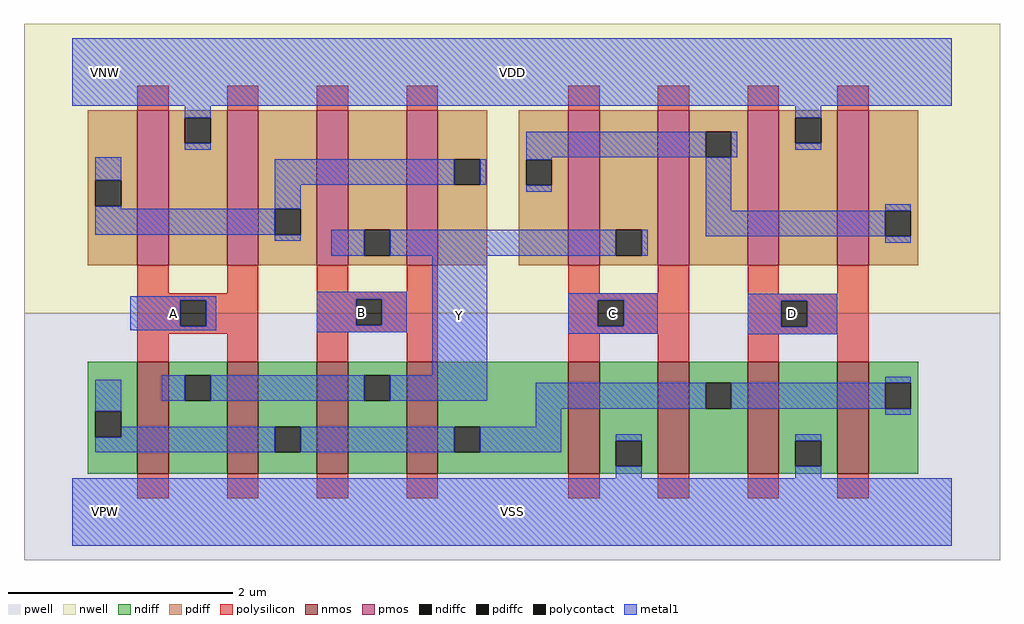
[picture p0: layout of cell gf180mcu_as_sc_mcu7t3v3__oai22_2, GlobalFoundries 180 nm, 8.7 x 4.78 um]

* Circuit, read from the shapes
.subckt gf180mcu_as_sc_mcu7t3v3__oai22_2 VDD VNW VPW VSS A B C D Y
XM1 Y A n1 VPW nfet_03v3 w=1u l=0.28u m=2
XM2 Y B n1 VPW nfet_03v3 w=1u l=0.28u m=2
XM3 VSS C n1 VPW nfet_03v3 w=1u l=0.28u m=2
XM4 VSS D n1 VPW nfet_03v3 w=1u l=0.28u m=2
XM5 VDD A n2 VNW pfet_03v3 w=1.38u l=0.28u m=2
XM6 Y B n2 VNW pfet_03v3 w=1.38u l=0.28u m=2
XM7 Y C n3 VNW pfet_03v3 w=1.38u l=0.28u m=2
XM8 VDD D n3 VNW pfet_03v3 w=1.38u l=0.28u m=2
.ends

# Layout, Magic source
magic
tech gf180mcuD
magscale 1 10
<< nwell >>
rect -86 354 1654 870
<< pwell >>
rect -86 -86 1654 354
<< nmos >>
rect 116 68 172 268
rect 276 68 332 268
rect 436 68 492 268
rect 596 68 652 268
rect 884 68 940 268
rect 1044 68 1100 268
rect 1204 68 1260 268
rect 1364 68 1420 268
<< pmos >>
rect 116 440 172 716
rect 276 440 332 716
rect 436 440 492 716
rect 596 440 652 716
rect 884 440 940 716
rect 1044 440 1100 716
rect 1204 440 1260 716
rect 1364 440 1420 716
<< ndiff >>
rect 28 179 116 268
rect 28 133 41 179
rect 87 133 116 179
rect 28 68 116 133
rect 172 244 276 268
rect 172 198 201 244
rect 247 198 276 244
rect 172 68 276 198
rect 332 152 436 268
rect 332 106 361 152
rect 407 106 436 152
rect 332 68 436 106
rect 492 244 596 268
rect 492 198 521 244
rect 567 198 596 244
rect 492 68 596 198
rect 652 152 884 268
rect 652 106 681 152
rect 727 106 884 152
rect 652 68 884 106
rect 940 127 1044 268
rect 940 81 969 127
rect 1015 81 1044 127
rect 940 68 1044 81
rect 1100 230 1204 268
rect 1100 184 1129 230
rect 1175 184 1204 230
rect 1100 68 1204 184
rect 1260 127 1364 268
rect 1260 81 1289 127
rect 1335 81 1364 127
rect 1260 68 1364 81
rect 1420 230 1508 268
rect 1420 184 1449 230
rect 1495 184 1508 230
rect 1420 68 1508 184
<< pdiff >>
rect 28 591 116 716
rect 28 545 41 591
rect 87 545 116 591
rect 28 440 116 545
rect 172 703 276 716
rect 172 657 201 703
rect 247 657 276 703
rect 172 440 276 657
rect 332 540 436 716
rect 332 494 361 540
rect 407 494 436 540
rect 332 440 436 494
rect 492 503 596 716
rect 492 457 521 503
rect 567 457 596 503
rect 492 440 596 457
rect 652 629 740 716
rect 652 583 681 629
rect 727 583 740 629
rect 652 440 740 583
rect 796 628 884 716
rect 796 582 809 628
rect 855 582 884 628
rect 796 440 884 582
rect 940 503 1044 716
rect 940 457 969 503
rect 1015 457 1044 503
rect 940 440 1044 457
rect 1100 678 1204 716
rect 1100 632 1129 678
rect 1175 632 1204 678
rect 1100 440 1204 632
rect 1260 703 1364 716
rect 1260 657 1289 703
rect 1335 657 1364 703
rect 1260 440 1364 657
rect 1420 537 1508 716
rect 1420 491 1449 537
rect 1495 491 1508 537
rect 1420 440 1508 491
<< ndiffc >>
rect 41 133 87 179
rect 201 198 247 244
rect 361 106 407 152
rect 521 198 567 244
rect 681 106 727 152
rect 969 81 1015 127
rect 1129 184 1175 230
rect 1289 81 1335 127
rect 1449 184 1495 230
<< pdiffc >>
rect 41 545 87 591
rect 201 657 247 703
rect 361 494 407 540
rect 521 457 567 503
rect 681 583 727 629
rect 809 582 855 628
rect 969 457 1015 503
rect 1129 632 1175 678
rect 1289 657 1335 703
rect 1449 491 1495 537
<< polysilicon >>
rect 116 716 172 760
rect 276 716 332 760
rect 436 716 492 760
rect 596 716 652 760
rect 884 716 940 760
rect 1044 716 1100 760
rect 1204 716 1260 760
rect 1364 716 1420 760
rect 116 390 172 440
rect 276 390 332 440
rect 116 377 332 390
rect 116 331 193 377
rect 239 331 332 377
rect 116 318 332 331
rect 116 268 172 318
rect 276 268 332 318
rect 436 392 492 440
rect 596 392 652 440
rect 436 379 652 392
rect 436 333 506 379
rect 552 333 652 379
rect 436 320 652 333
rect 436 268 492 320
rect 596 268 652 320
rect 884 390 940 440
rect 1044 390 1100 440
rect 884 377 1100 390
rect 884 331 937 377
rect 983 331 1100 377
rect 884 318 1100 331
rect 884 268 940 318
rect 1044 268 1100 318
rect 1204 389 1260 440
rect 1364 389 1420 440
rect 1204 376 1420 389
rect 1204 330 1264 376
rect 1310 330 1420 376
rect 1204 317 1420 330
rect 1204 268 1260 317
rect 1364 268 1420 317
rect 116 24 172 68
rect 276 24 332 68
rect 436 24 492 68
rect 596 24 652 68
rect 884 24 940 68
rect 1044 24 1100 68
rect 1204 24 1260 68
rect 1364 24 1420 68
<< polycontact >>
rect 193 331 239 377
rect 506 333 552 379
rect 937 331 983 377
rect 1264 330 1310 376
<< metal1 >>
rect 0 724 1568 844
rect 201 703 247 724
rect 1289 703 1335 724
rect 201 646 247 657
rect 809 632 1129 678
rect 1175 632 1186 678
rect 1289 646 1335 657
rect 41 591 87 632
rect 41 540 87 545
rect 361 583 681 629
rect 727 583 738 629
rect 809 628 855 632
rect 361 540 407 583
rect 809 571 855 582
rect 41 494 361 540
rect 1129 537 1175 632
rect 1449 537 1495 548
rect 361 483 407 494
rect 462 457 521 503
rect 567 457 969 503
rect 1015 457 1026 503
rect 1129 491 1449 537
rect 1449 480 1495 491
rect 103 377 257 384
rect 103 331 193 377
rect 239 331 257 377
rect 103 324 257 331
rect 436 379 596 392
rect 436 333 506 379
rect 552 333 596 379
rect 436 320 596 333
rect 642 244 740 457
rect 884 377 1044 390
rect 884 331 937 377
rect 983 331 1044 377
rect 884 318 1044 331
rect 1204 376 1364 389
rect 1204 330 1264 376
rect 1310 330 1364 376
rect 1204 317 1364 330
rect 41 179 87 236
rect 160 198 201 244
rect 247 198 521 244
rect 567 198 740 244
rect 1449 230 1495 241
rect 826 184 1129 230
rect 1175 184 1449 230
rect 826 152 872 184
rect 1449 173 1495 184
rect 87 133 361 152
rect 41 106 361 133
rect 407 106 681 152
rect 727 106 872 152
rect 969 127 1015 138
rect 969 60 1015 81
rect 1289 127 1335 138
rect 1289 60 1335 81
rect 0 -60 1568 60
<< labels >>
flabel metal1 s 0 724 1568 844 0 FreeSans 400 0 0 0 VDD
port 1 nsew power bidirectional abutment
flabel metal1 s 0 -60 1568 60 0 FreeSans 400 0 0 0 VSS
port 4 nsew ground bidirectional abutment
flabel nwell s 10 734 110 834 0 FreeSans 400 0 0 0 VNW
port 2 nsew power bidirectional
flabel pwell s 10 -50 110 50 0 FreeSans 400 0 0 0 VPW
port 3 nsew ground bidirectional
flabel metal1 103 324 257 384 0 FreeSans 200 0 0 0 A
port 5 nsew signal input
flabel metal1 436 320 596 392 0 FreeSans 200 0 0 0 B
port 6 nsew signal input
flabel metal1 642 198 740 503 0 FreeSans 200 0 0 0 Y
port 9 nsew signal output
flabel metal1 884 318 1044 390 0 FreeSans 200 0 0 0 C
port 7 nsew signal input
flabel metal1 1204 317 1364 389 0 FreeSans 200 0 0 0 D
port 8 nsew signal input
<< properties >>
string FIXED_BBOX 0 0 1568 784
string LEFclass CORE
string LEFsite unithd
string LEFsymmetry X Y
string MASKHINTS_NPLUS -16 -46 1584 354
string MASKHINTS_PPLUS -16 354 1584 830
<< end >>
